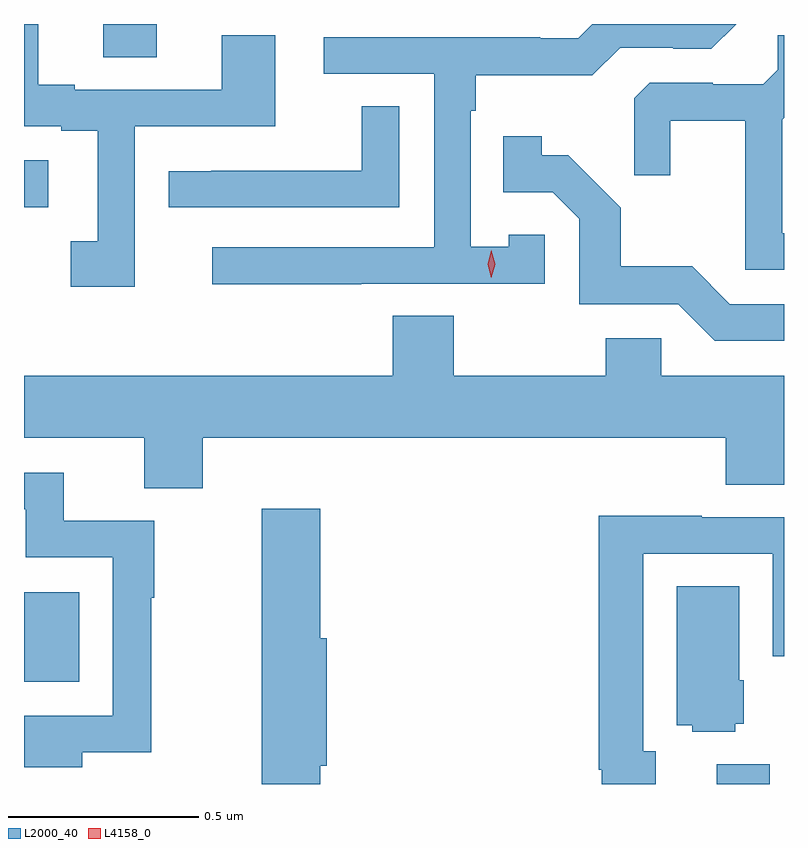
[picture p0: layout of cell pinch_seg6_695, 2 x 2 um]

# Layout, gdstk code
import gdstk
lib = gdstk.Library(unit=1e-6, precision=1e-09)
def R(c, l, rs):  # rectangles x0, y0, x1, y1
    for r in rs: c.add(gdstk.rectangle(r[:2], r[2:], *l))
def P(c, l, *ps):  # polygons
    for p in ps: c.add(gdstk.Polygon(p, *l))
L2000_40 = (2000, 40)
L4158_0 = (4158, 0)

pinch_seg6_695 = lib.new_cell('pinch_seg6_695')
R(pinch_seg6_695, L2000_40, [(483.557,949.089,483.697,949.141), (481.734,949.358,481.879,949.594), (481.734,950.607,481.798,950.731), (481.943,951.001,482.083,951.089)])
P(pinch_seg6_695, L2000_40, [(482.621,950.406),(483.105,950.406),(483.105,950.535),(483.009,950.535),(483.009,950.503),(482.91,950.503),(482.91,950.861),(482.923,950.861),(482.923,950.954),(483.23,950.954),(483.303,951.027),(483.442,951.027),(483.442,951.024),(483.543,951.024),(483.608,951.089),(483.23,951.089),(483.192,951.051),(483.092,951.051),(483.092,951.054),(482.523,951.054),(482.523,950.958),(482.814,950.958),(482.814,950.502),(482.229,950.502),(482.229,950.404),(482.621,950.404)],
  [(482.025,950.82),(482.395,950.82),(482.395,951.059),(482.255,951.059),(482.255,950.916),(481.867,950.916),(481.867,950.929),(481.771,950.929),(481.771,951.089),(481.734,951.089),(481.734,950.82),(481.832,950.82),(481.832,950.808),(481.928,950.808),(481.928,950.517),(481.857,950.517),(481.857,950.397),(482.025,950.397)],
  [(483.734,950.538),(483.729,950.538),(483.729,950.837),(483.734,950.842),(483.734,951.059),(483.717,951.059),(483.717,950.968),(483.68,950.931),(483.546,950.931),(483.546,950.934),(483.381,950.934),(483.34,950.893),(483.34,950.691),(483.434,950.691),(483.434,950.834),(483.632,950.834),(483.632,950.442),(483.734,950.442)],
  [(482.721,950.873),(482.623,950.873),(482.623,950.703),(482.227,950.703),(482.227,950.702),(482.115,950.702),(482.115,950.607),(482.721,950.607)],
  [(483.734,950.352),(483.591,950.352),(483.493,950.451),(483.304,950.451),(483.304,950.606),(483.166,950.744),(483.096,950.744),(483.096,950.794),(482.995,950.794),(482.995,950.646),(483.126,950.646),(483.195,950.577),(483.195,950.352),(483.456,950.352),(483.552,950.256),(483.734,950.256)],
  [(482.204,950),(483.581,950),(483.581,949.876),(483.734,949.876),(483.734,950.164),(483.411,950.164),(483.411,950.262),(483.265,950.262),(483.265,950.164),(482.865,950.164),(482.865,950.321),(482.705,950.321),(482.705,950.164),(481.734,950.164),(481.734,950),(482.051,950),(482.051,949.867),(482.204,949.867)],
  [(481.887,949.173),(482.069,949.173),(482.069,949.579),(482.077,949.579),(482.077,949.782),(481.838,949.782),(481.838,949.908),(481.734,949.908),(481.734,949.812),(481.739,949.812),(481.739,949.686),(481.968,949.686),(481.968,949.269),(481.734,949.269),(481.734,949.133),(481.887,949.133)],
  [(482.513,949.137),(482.531,949.137),(482.531,949.473),(482.513,949.473),(482.513,949.813),(482.359,949.813),(482.359,949.473),(482.36,949.473),(482.36,949.089),(482.513,949.089)],
  [(483.397,949.175),(483.363,949.175),(483.363,949.695),(483.705,949.695),(483.705,949.425),(483.734,949.425),(483.734,949.791),(483.517,949.791),(483.517,949.795),(483.247,949.795),(483.247,949.126),(483.255,949.126),(483.255,949.089),(483.397,949.089)],
  [(483.606,949.248),(483.628,949.248),(483.628,949.362),(483.616,949.362),(483.616,949.61),(483.452,949.61),(483.452,949.244),(483.492,949.244),(483.492,949.226),(483.606,949.226)])
P(pinch_seg6_695, L4158_0, [(482.964,950.421),(482.964,950.421),(482.954,950.457),(482.964,950.493),(482.964,950.493),(482.964,950.493),(482.974,950.457),(482.964,950.421)])

lib.write_gds('pinch_seg6_695.gds')
